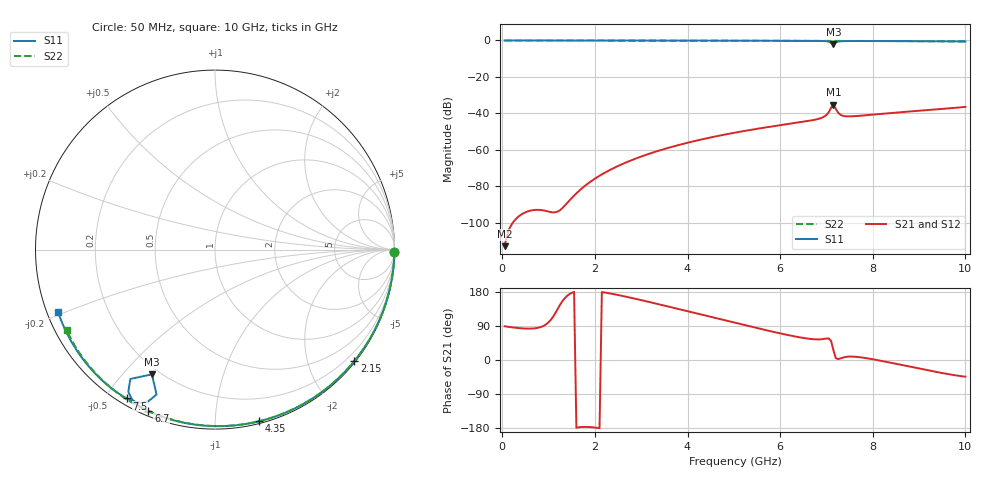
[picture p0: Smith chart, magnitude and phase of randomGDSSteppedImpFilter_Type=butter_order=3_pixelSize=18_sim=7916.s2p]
! freq	dB(S11)	phase(S11)	dB(S12)	phase(S12)
!  dB(S21)	phase(S21)	dB(S22)	phase(S22)
!S-par simulation data
#  GHz  S  DB  R 50
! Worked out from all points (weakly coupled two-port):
!   200 points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, 50 MHz to 10 GHz, reference 50 ohm
!   highest |S21| = -35.27 dB at 7.15 GHz (marker M1); lowest = -112.8 dB at 50 MHz (marker M2)
!   lowest |S11| = -2.2 dB at 7.15 GHz (marker M3), VSWR 8.05, Z = 8.51 - j30.1 ohm
!   |S11| at or under -10 dB: nowhere
!   |S22| runs from -0.5 to 0.0 dB; largest |S21 - S12| = 0
!   S11 on the Smith chart (normalised r, x): 50 MHz: open; 2.15 GHz: 0.03, -2.85; 4.35 GHz: 0.02, -1.29; 6.7 GHz: 0.02, -0.67; 7.5 GHz: 0.02, -0.57; 10 GHz: 0.03, -0.19
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0.05  -0.00 -0.9  -112.80 89.0  -112.80 89.0  -0.00 -0.9
0.9  -0.02 -16.4  -93.24 90.5  -93.24 90.5  -0.02 -15.4
1.75  -0.04 -31.6  -80.43 -176.6  -80.43 -176.6  -0.04 -29.8
2.15  -0.05 -38.7  -73.44 179.3  -73.44 179.3  -0.05 -36.4
2.7  -0.06 -48.2  -66.59 166.3  -66.59 166.3  -0.06 -45.4
3.4  -0.08 -60.0  -60.27 146.5  -60.27 146.5  -0.07 -56.6
4.35  -0.11 -75.5  -54.01 118.2  -54.01 118.2  -0.10 -71.3
5.05  -0.13 -86.5  -50.43 97.3  -50.43 97.3  -0.13 -81.7
5.9  -0.17 -99.7  -46.85 73.0  -46.85 73.0  -0.16 -94.0
6.7  -0.24 -112.4  -43.73 55.0  -43.73 55.0  -0.21 -105.3
6.9  -0.30 -116.4  -42.39 54.8  -42.39 54.8  -0.22 -108.1
7  -0.44 -119.3  -40.84 56.7  -40.84 56.7  -0.22 -109.4
7.05  -0.66 -121.4  -39.32 56.8  -39.32 56.8  -0.23 -110.1
7.1  -1.30 -123.2  -36.89 50.3  -36.89 50.3  -0.23 -110.8
7.15  -2.17 -116.8  -35.27 25.9  -35.27 25.9  -0.23 -111.5
7.2  -1.20 -112.0  -37.40 5.3  -37.40 5.3  -0.23 -112.2
7.25  -0.66 -113.9  -39.59 2.3  -39.59 2.3  -0.24 -112.9
7.3  -0.47 -115.8  -40.74 4.2  -40.74 4.2  -0.24 -113.6
7.5  -0.32 -120.7  -41.63 9.1  -41.63 9.1  -0.26 -116.3
8.35  -0.35 -134.1  -39.89 -6.3  -39.89 -6.3  -0.33 -127.9
9.25  -0.44 -147.2  -38.02 -28.7  -38.02 -28.7  -0.42 -140.3
10  -0.53 -158.2  -36.42 -44.0  -36.42 -44.0  -0.55 -151.6
